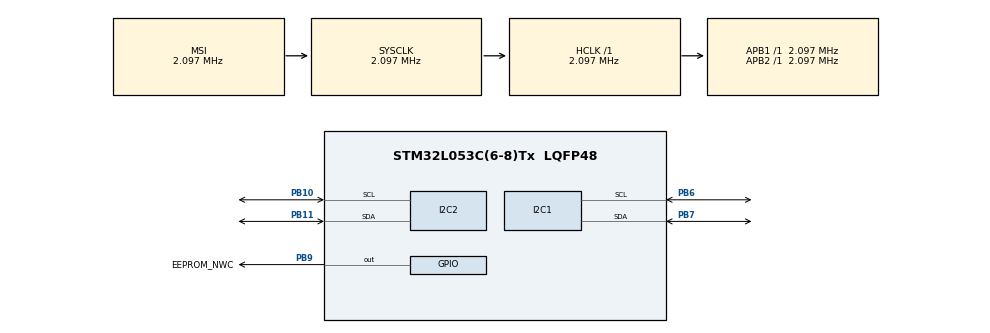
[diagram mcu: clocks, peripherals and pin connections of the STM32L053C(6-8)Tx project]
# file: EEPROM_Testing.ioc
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I2C1.I2C_Fall_Time=50
I2C1.I2C_Rise_Time=50
I2C2.I2C_Fall_Time=50
I2C2.I2C_Rise_Time=50
Mcu.Family=STM32L0
Mcu.Name=STM32L053C(6-8)Tx
Mcu.Package=LQFP48
PB10.GPIO_PuPdOD=GPIO_NOPULL
PB10.Mode=I2C
PB10.Signal=I2C2_SCL
PB11.GPIO_PuPdOD=GPIO_NOPULL
PB11.Mode=I2C
PB11.Signal=I2C2_SDA
PB6.GPIO_PuPdOD=GPIO_NOPULL
PB6.Mode=I2C
PB6.Signal=I2C1_SCL
PB7.GPIO_PuPdOD=GPIO_NOPULL
PB7.Mode=I2C
PB7.Signal=I2C1_SDA
PB9.GPIO_Label=EEPROM_NWC
PB9.GPIO_Speed=GPIO_SPEED_FREQ_VERY_HIGH
PB9.PinState=GPIO_PIN_SET
PB9.Signal=GPIO_Output
ProjectManager.HeapSize=0x200
ProjectManager.StackSize=0x400
ProjectManager.TargetToolchain=TrueSTUDIO
RCC.AHBFreq_Value=2097000
RCC.APB1Freq_Value=2097000
RCC.APB1TimFreq_Value=2097000
RCC.APB2Freq_Value=2097000
RCC.APB2TimFreq_Value=2097000
RCC.HSE_VALUE=8000000
RCC.HSI16_VALUE=16000000
RCC.HSI48_VALUE=48000000
RCC.HSI_VALUE=16000000
RCC.LSE_VALUE=32768
RCC.MSI_VALUE=2097000
RCC.SYSCLKFreq_VALUE=2097000
RCC.VCOOutputFreq_Value=48000000
board=custom

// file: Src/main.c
/* USER CODE BEGIN Header */
/**
  ******************************************************************************
  * @file           : main.c
  * @brief          : Main program body
  ******************************************************************************
  * @attention
  *
  * <h2><center>&copy; Copyright (c) 2020 STMicroelectronics.
  * All rights reserved.</center></h2>
  *
  * This software component is licensed by ST under BSD 3-Clause license,
  * the "License"; You may not use this file except in compliance with the
  * License. You may obtain a copy of the License at:
  *                        opensource.org/licenses/BSD-3-Clause
  *
  ******************************************************************************
  */
/* USER CODE END Header */

#include "main.h"

I2C_HandleTypeDef hi2c1;
I2C_HandleTypeDef hi2c2;

/* USER CODE BEGIN PV */

uint16_t addrMem = 0xA0;
uint16_t addrPage = 0xB0;

/* USER CODE END PV */

void SystemClock_Config(void);
static void MX_GPIO_Init(void);
static void MX_I2C2_Init(void);
static void MX_I2C1_Init(void);
/* USER CODE BEGIN PFP */
void writeEEPROM(uint16_t deviceAddress, uint16_t writeAddress, uint8_t data[]);
void readEEPROM(uint16_t deviceAddress, uint16_t readAddress, uint8_t * buffer, uint8_t size);
/* USER CODE END PFP */

int main(void)
{

  /* MCU Configuration--------------------------------------------------------*/

  /* Reset of all peripherals, Initializes the Flash interface and the Systick. */
  HAL_Init();

  /* Configure the system clock */
  SystemClock_Config();

  /* Initialize all configured peripherals */
  MX_GPIO_Init();
  MX_I2C2_Init();
  MX_I2C1_Init();

  /* Infinite loop */
  while (1)
  {

    /* USER CODE BEGIN 3 */
	  uint8_t data[] = "Hello";
	  writeEEPROM(addrMem, 0x0000, data);
	  HAL_Delay(5);
	  uint8_t buffer[5];
	  readEEPROM(addrMem, 0x0000, buffer, 5);
	  HAL_Delay(5);
  }

  /* USER CODE END 3 */
}

void SystemClock_Config(void)
{
  RCC_OscInitTypeDef RCC_OscInitStruct = {0};
  RCC_ClkInitTypeDef RCC_ClkInitStruct = {0};
  RCC_PeriphCLKInitTypeDef PeriphClkInit = {0};

  /** Configure the main internal regulator output voltage
  */
  __HAL_PWR_VOLTAGESCALING_CONFIG(PWR_REGULATOR_VOLTAGE_SCALE1);
  /** Initializes the CPU, AHB and APB busses clocks
  */
  RCC_OscInitStruct.OscillatorType = RCC_OSCILLATORTYPE_MSI;
  RCC_OscInitStruct.MSIState = RCC_MSI_ON;
  RCC_OscInitStruct.MSICalibrationValue = 0;
  RCC_OscInitStruct.MSIClockRange = RCC_MSIRANGE_5;
  RCC_OscInitStruct.PLL.PLLState = RCC_PLL_NONE;
  if (HAL_RCC_OscConfig(&RCC_OscInitStruct) != HAL_OK)
  {
    Error_Handler();
  }
  /** Initializes the CPU, AHB and APB busses clocks
  */
  RCC_ClkInitStruct.ClockType = RCC_CLOCKTYPE_HCLK|RCC_CLOCKTYPE_SYSCLK
                              |RCC_CLOCKTYPE_PCLK1|RCC_CLOCKTYPE_PCLK2;
  RCC_ClkInitStruct.SYSCLKSource = RCC_SYSCLKSOURCE_MSI;
  RCC_ClkInitStruct.AHBCLKDivider = RCC_SYSCLK_DIV1;
  RCC_ClkInitStruct.APB1CLKDivider = RCC_HCLK_DIV1;
  RCC_ClkInitStruct.APB2CLKDivider = RCC_HCLK_DIV1;

  if (HAL_RCC_ClockConfig(&RCC_ClkInitStruct, FLASH_LATENCY_0) != HAL_OK)
  {
    Error_Handler();
  }
  PeriphClkInit.PeriphClockSelection = RCC_PERIPHCLK_I2C1;
  PeriphClkInit.I2c1ClockSelection = RCC_I2C1CLKSOURCE_PCLK1;
  if (HAL_RCCEx_PeriphCLKConfig(&PeriphClkInit) != HAL_OK)
  {
    Error_Handler();
  }
}

static void MX_I2C1_Init(void)
{

  hi2c1.Instance = I2C1;
  hi2c1.Init.Timing = 0x00000708;
  hi2c1.Init.OwnAddress1 = 0;
  hi2c1.Init.AddressingMode = I2C_ADDRESSINGMODE_7BIT;
  hi2c1.Init.DualAddressMode = I2C_DUALADDRESS_DISABLE;
  hi2c1.Init.OwnAddress2 = 0;
  hi2c1.Init.OwnAddress2Masks = I2C_OA2_NOMASK;
  hi2c1.Init.GeneralCallMode = I2C_GENERALCALL_DISABLE;
  hi2c1.Init.NoStretchMode = I2C_NOSTRETCH_DISABLE;
  if (HAL_I2C_Init(&hi2c1) != HAL_OK)
  {
    Error_Handler();
  }
  /** Configure Analogue filter
  */
  if (HAL_I2CEx_ConfigAnalogFilter(&hi2c1, I2C_ANALOGFILTER_ENABLE) != HAL_OK)
  {
    Error_Handler();
  }
  /** Configure Digital filter
  */
  if (HAL_I2CEx_ConfigDigitalFilter(&hi2c1, 0) != HAL_OK)
  {
    Error_Handler();
  }

}

static void MX_I2C2_Init(void)
{

  hi2c2.Instance = I2C2;
  hi2c2.Init.Timing = 0x00000708;
  hi2c2.Init.OwnAddress1 = 0;
  hi2c2.Init.AddressingMode = I2C_ADDRESSINGMODE_7BIT;
  hi2c2.Init.DualAddressMode = I2C_DUALADDRESS_DISABLE;
  hi2c2.Init.OwnAddress2 = 0;
  hi2c2.Init.OwnAddress2Masks = I2C_OA2_NOMASK;
  hi2c2.Init.GeneralCallMode = I2C_GENERALCALL_DISABLE;
  hi2c2.Init.NoStretchMode = I2C_NOSTRETCH_DISABLE;
  if (HAL_I2C_Init(&hi2c2) != HAL_OK)
  {
    Error_Handler();
  }
  /** Configure Analogue filter
  */
  if (HAL_I2CEx_ConfigAnalogFilter(&hi2c2, I2C_ANALOGFILTER_ENABLE) != HAL_OK)
  {
    Error_Handler();
  }
  /** Configure Digital filter
  */
  if (HAL_I2CEx_ConfigDigitalFilter(&hi2c2, 0) != HAL_OK)
  {
    Error_Handler();
  }

}

static void MX_GPIO_Init(void)
{
  GPIO_InitTypeDef GPIO_InitStruct = {0};

  /* GPIO Ports Clock Enable */
  __HAL_RCC_GPIOB_CLK_ENABLE();

  /*Configure GPIO pin Output Level */
  HAL_GPIO_WritePin(EEPROM_NWC_GPIO_Port, EEPROM_NWC_Pin, GPIO_PIN_SET);

  /*Configure GPIO pin : EEPROM_NWC_Pin */
  GPIO_InitStruct.Pin = EEPROM_NWC_Pin;
  GPIO_InitStruct.Mode = GPIO_MODE_OUTPUT_PP;
  GPIO_InitStruct.Pull = GPIO_NOPULL;
  GPIO_InitStruct.Speed = GPIO_SPEED_FREQ_VERY_HIGH;
  HAL_GPIO_Init(EEPROM_NWC_GPIO_Port, &GPIO_InitStruct);

}

/* USER CODE BEGIN 4 */

void writeEEPROM(uint16_t deviceAddress, uint16_t writeAddress, uint8_t data[])
{
	//Frame the I2C packet to EEPROM with low WC
	HAL_GPIO_WritePin(EEPROM_NWC_GPIO_Port, EEPROM_NWC_Pin, GPIO_PIN_RESET);

	//Send I2C packet
	//HAL_I2C_Master_Transmit(&hi2c2, deviceAddress, buffer, sizeof(buffer), 1000);
	HAL_I2C_Mem_Write(&hi2c1, deviceAddress, writeAddress, 2, data, 5, 1000);

	//Set WC high to end frame
	HAL_GPIO_WritePin(EEPROM_NWC_GPIO_Port, EEPROM_NWC_Pin, GPIO_PIN_SET);
}

void readEEPROM(uint16_t deviceAddress, uint16_t readAddress, uint8_t * buffer, uint8_t size)
{
	uint8_t readAddr = readAddress;
	//Send I2C packet
	//HAL_I2C_Mem_Read(&hi2c1, deviceAddress, readAddress, 2, &buffer, 5, 1000);

	//HAL_I2C_Master_Transmit(&hi2c1, deviceAddress, &readAddr, 1, 1000);

	HAL_I2C_Master_Receive(&hi2c1, deviceAddress, buffer, 1, 1000);
}

/* USER CODE END 4 */

void Error_Handler(void)
{
}

/************************ (C) COPYRIGHT STMicroelectronics *****END OF FILE****/
